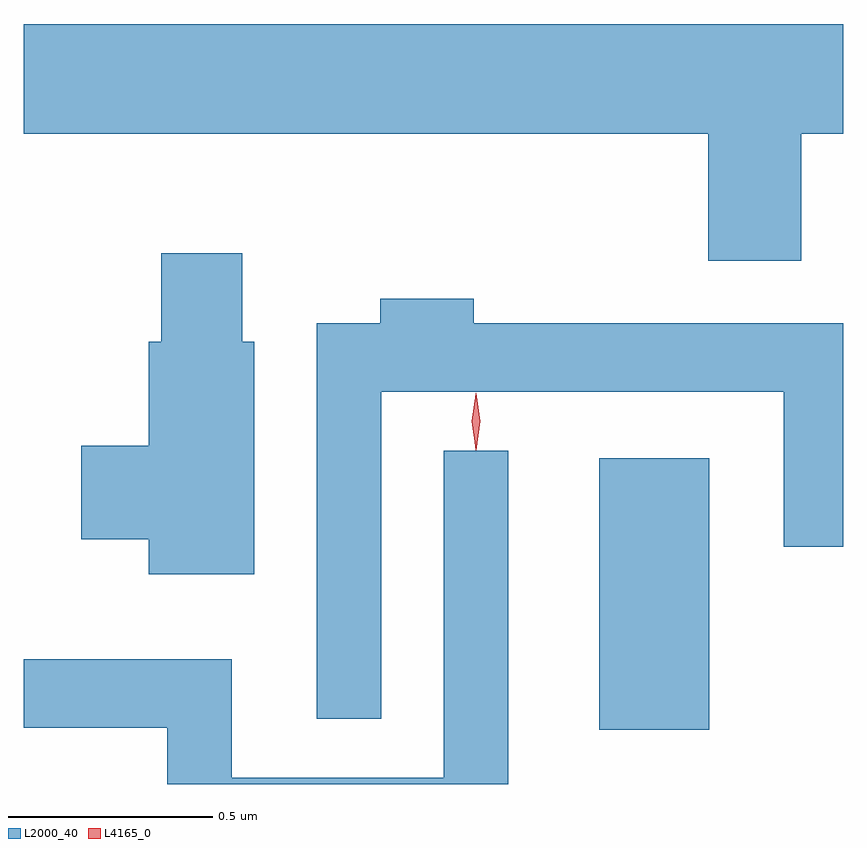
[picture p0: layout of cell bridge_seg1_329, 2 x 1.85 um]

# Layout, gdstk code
import gdstk
lib = gdstk.Library(unit=1e-6, precision=1e-09)
def R(c, l, rs):  # rectangles x0, y0, x1, y1
    for r in rs: c.add(gdstk.rectangle(r[:2], r[2:], *l))
def P(c, l, *ps):  # polygons
    for p in ps: c.add(gdstk.Polygon(p, *l))
L2000_40 = (2000, 40)
L4165_0 = (4165, 0)

bridge_seg1_329 = lib.new_cell('bridge_seg1_329')
R(bridge_seg1_329, L2000_40, [(905.676,880.361,905.944,881.024)])
P(bridge_seg1_329, L2000_40, [(906.169,881.816),(906.271,881.816),(906.271,882.084),(904.271,882.084),(904.271,881.816),(905.941,881.816),(905.941,881.506),(906.169,881.506)],
  [(904.834,881.309),(904.804,881.309),(904.804,881.524),(904.606,881.524),(904.606,881.309),(904.576,881.309),(904.576,881.054),(904.411,881.054),(904.411,880.826),(904.576,880.826),(904.576,880.741),(904.834,880.741)],
  [(905.144,881.186),(906.126,881.186),(906.126,880.808),(906.271,880.808),(906.271,881.354),(905.369,881.354),(905.369,881.414),(905.141,881.414),(905.141,881.354),(904.986,881.354),(904.986,880.388),(905.144,880.388)],
  [(905.454,881.043),(905.296,881.043),(905.296,880.244),(904.779,880.244),(904.779,880.534),(904.271,880.534),(904.271,880.366),(904.621,880.366),(904.621,880.229),(905.454,880.229)])
P(bridge_seg1_329, L4165_0, [(905.374,881.047),(905.364,881.114),(905.374,881.18),(905.374,881.18),(905.375,881.18),(905.384,881.114),(905.375,881.047),(905.375,881.047)],
  [(905.374,881.044),(905.365,881.114),(905.374,881.183),(905.375,881.183),(905.375,881.183),(905.385,881.114),(905.375,881.044),(905.375,881.044)])

lib.write_gds('bridge_seg1_329.gds')
